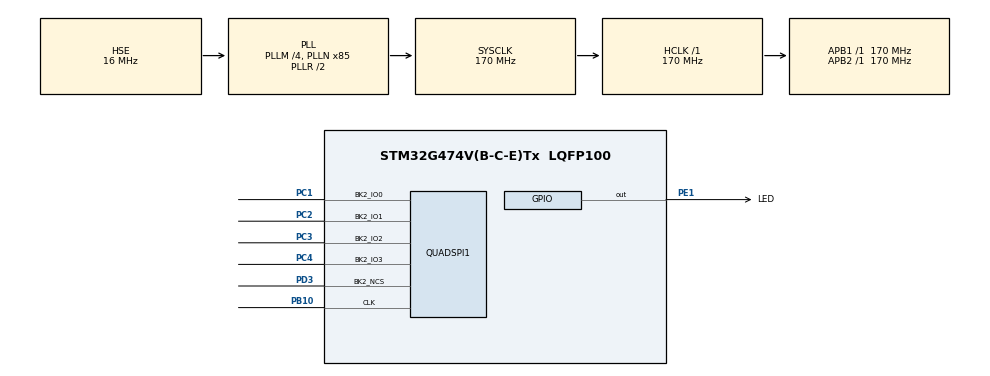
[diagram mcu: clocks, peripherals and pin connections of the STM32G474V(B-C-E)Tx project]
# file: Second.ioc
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Dma.QUADSPI.0.Direction=DMA_PERIPH_TO_MEMORY
Dma.QUADSPI.0.EventEnable=DISABLE
Dma.QUADSPI.0.Instance=DMA2_Channel1
Dma.QUADSPI.0.MemDataAlignment=DMA_MDATAALIGN_BYTE
Dma.QUADSPI.0.MemInc=DMA_MINC_ENABLE
Dma.QUADSPI.0.Mode=DMA_NORMAL
Dma.QUADSPI.0.PeriphDataAlignment=DMA_PDATAALIGN_BYTE
Dma.QUADSPI.0.PeriphInc=DMA_PINC_DISABLE
Dma.QUADSPI.0.Polarity=HAL_DMAMUX_REQ_GEN_RISING
Dma.QUADSPI.0.Priority=DMA_PRIORITY_LOW
Dma.QUADSPI.0.RequestNumber=1
Dma.QUADSPI.0.SignalID=NONE
Dma.QUADSPI.0.SyncEnable=DISABLE
Dma.QUADSPI.0.SyncPolarity=HAL_DMAMUX_SYNC_NO_EVENT
Dma.QUADSPI.0.SyncRequestNumber=1
Dma.QUADSPI.0.SyncSignalID=NONE
Dma.Request0=QUADSPI
Mcu.Family=STM32G4
Mcu.Name=STM32G474V(B-C-E)Tx
Mcu.Package=LQFP100
NVIC.DMA2_Channel1_IRQn=true\:0\:0\:false\:false\:true\:false\:true\:true
NVIC.PriorityGroup=NVIC_PRIORITYGROUP_4
NVIC.QUADSPI_IRQn=true\:0\:0\:false\:false\:true\:true\:true\:true
PA13.Mode=Trace_Asynchronous_SW
PA13.Signal=SYS_JTMS-SWDIO
PA14.Mode=Trace_Asynchronous_SW
PA14.Signal=SYS_JTCK-SWCLK
PB10.Mode=Single Bank 2
PB10.Signal=QUADSPI1_CLK
PB3.Mode=Trace_Asynchronous_SW
PB3.Signal=SYS_JTDO-SWO
PC1.Mode=Single Bank 2
PC1.Signal=QUADSPI1_BK2_IO0
PC2.Mode=Single Bank 2
PC2.Signal=QUADSPI1_BK2_IO1
PC3.Mode=Single Bank 2
PC3.Signal=QUADSPI1_BK2_IO2
PC4.Mode=Single Bank 2
PC4.Signal=QUADSPI1_BK2_IO3
PD3.Mode=Single Bank 2
PD3.Signal=QUADSPI1_BK2_NCS
PE1.GPIO_Label=LED
PE1.Signal=GPIO_Output
PF0-OSC_IN.Mode=HSE-External-Oscillator
PF0-OSC_IN.Signal=RCC_OSC_IN
PF1-OSC_OUT.Mode=HSE-External-Oscillator
PF1-OSC_OUT.Signal=RCC_OSC_OUT
ProjectManager.HeapSize=0x200
ProjectManager.StackSize=0x400
ProjectManager.TargetToolchain=STM32CubeIDE
QUADSPI1.ClockPrescaler=6
QUADSPI1.FifoThreshold=1
QUADSPI1.FlashSize=23
QUADSPI1.SampleShifting=QSPI_SAMPLE_SHIFTING_NONE
RCC.ADC12Freq_Value=170000000
RCC.ADC345Freq_Value=170000000
RCC.AHBFreq_Value=170000000
RCC.APB1Freq_Value=170000000
RCC.APB1TimFreq_Value=170000000
RCC.APB2Freq_Value=170000000
RCC.APB2TimFreq_Value=170000000
RCC.CortexFreq_Value=170000000
RCC.EXTERNAL_CLOCK_VALUE=12288000
RCC.HCLKFreq_Value=170000000
RCC.HSE_VALUE=16000000
RCC.HSI48_VALUE=48000000
RCC.HSI_VALUE=16000000
RCC.LSE_VALUE=32768
RCC.PLLM=RCC_PLLM_DIV4
RCC.PLLN=85
RCC.PLLQ=RCC_PLLQ_DIV4
RCC.PLLSourceVirtual=RCC_PLLSOURCE_HSE
RCC.SYSCLKFreq_VALUE=170000000
RCC.SYSCLKSource=RCC_SYSCLKSOURCE_PLLCLK
RCC.USBFreq_Value=85000000
RCC.VCOOutputFreq_Value=340000000
VP_SYS_VS_DBSignals.Mode=DisableDeadBatterySignals
board=custom

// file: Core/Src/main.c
/* USER CODE BEGIN Header */
/**
  ******************************************************************************
  * @file           : main.c
  * @brief          : Main program body
  ******************************************************************************
  * @attention
  *
  * Copyright (c) 2025 STMicroelectronics.
  * All rights reserved.
  *
  * This software is licensed under terms that can be found in the LICENSE file
  * in the root directory of this software component.
  * If no LICENSE file comes with this software, it is provided AS-IS.
  *
  ******************************************************************************
  */
/* USER CODE END Header */
#include "main.h"

/* USER CODE BEGIN Includes */
#include "psram_aps6404l.h"     // Our driver
#define FAST_SPEED_TEST_SIZE   (50 * 1024)  // 16 KB buffer for speed test
#include <string.h>
#include <stdio.h>

/* USER CODE END Includes */

QSPI_HandleTypeDef hqspi1;
DMA_HandleTypeDef hdma_quadspi;

void SystemClock_Config(void);
static void MX_GPIO_Init(void);
static void MX_DMA_Init(void);
static void MX_QUADSPI1_Init(void);

/* USER CODE BEGIN 0 */
int _write(int file, char *ptr, int len)
{
  /* Implement your write code here, this is used by puts and printf for example */
  int i=0;
  for(i=0 ; i<len ; i++)
    ITM_SendChar((*ptr++));
  return len;
}

// Callback for QSPI DMA reception completion
volatile uint8_t qspi_tx_complete = 0;
volatile uint8_t qspi_rx_complete = 0;

void HAL_QSPI_TxCpltCallback(QSPI_HandleTypeDef *hqspi)
{
    if(hqspi->Instance == QUADSPI)
    {
        qspi_tx_complete = 1;
        printf("DMA TX complete callback triggered\n");
    }
}

void HAL_QSPI_RxCpltCallback(QSPI_HandleTypeDef *hqspi)
{
    if(hqspi->Instance == QUADSPI)
    {
        qspi_rx_complete = 1;
        printf("DMA RX complete callback triggered\n");
    }
}
/* USER CODE END 0 */

int main(void)
{

  /* USER CODE BEGIN 1 */
	// Declare test buffers (make sure these are not allocated on the stack if memory is very limited)
	uint32_t startTime, endTime, elapsedTime;
	float throughput_kBps;
	uint8_t fastTxBuf[FAST_SPEED_TEST_SIZE];
	uint8_t fastRxBuf[FAST_SPEED_TEST_SIZE];
  /* USER CODE END 1 */

  /* MCU Configuration--------------------------------------------------------*/

  /* Reset of all peripherals, Initializes the Flash interface and the Systick. */
  HAL_Init();

  /* Configure the system clock */
  SystemClock_Config();

  /* Initialize all configured peripherals */
  MX_GPIO_Init();
  MX_DMA_Init();
  MX_QUADSPI1_Init();
  /* USER CODE BEGIN 2 */
  HAL_Delay(1);

  // PSRAM initialization sequence
 if (PSRAM_Reset() != HAL_OK)
 {
	 printf("PSRAM_Reset failed\r\n");
	 while(1);
 }
 if (PSRAM_EnterQuadMode() != HAL_OK)
 {
	 printf("PSRAM_EnterQuadMode failed\r\n");
	 while(1);
 }
 if (PSRAM_SetWrapMode() != HAL_OK)
 {
	 printf("PSRAM_SetWrapMode failed\r\n");
	 while(1);
 }
 HAL_Delay(1); // Allow wrap mode to settle

 // Prepare test data in the transmit buffer
 for (uint32_t i = 0; i < FAST_SPEED_TEST_SIZE; i++)
 {
	 fastTxBuf[i] = (uint8_t)(i & 0xFF);
 }

 // --- DMA Fast Write Test ---
 qspi_tx_complete = 0;  // Reset the DMA TX completion flag
 startTime = HAL_GetTick();
 if (PSRAM_QPI_FastWrite_DMA(0x000000, fastTxBuf, FAST_SPEED_TEST_SIZE) != HAL_OK)
 {
	 printf("DMA Fast Write failed\r\n");
	 while(1);
 }
 // Wait until the TX DMA transfer completes
 while (!qspi_tx_complete) {}
 endTime = HAL_GetTick();
 elapsedTime = endTime - startTime;
 if (elapsedTime == 0) elapsedTime = 1;
 throughput_kBps = ((float)FAST_SPEED_TEST_SIZE / 1024.0f) / ((float)elapsedTime / 1000.0f);
 printf("DMA Fast Write throughput: %.2f kB/s, elapsed time: %lu ms\r\n", throughput_kBps, elapsedTime);

 // --- DMA Fast Read Test ---
 qspi_rx_complete = 0;  // Reset the DMA RX completion flag
 startTime = HAL_GetTick();
 if (PSRAM_QPI_FastRead_DMA(0x000000, fastRxBuf, FAST_SPEED_TEST_SIZE) != HAL_OK)
 {
	 printf("DMA Fast Read failed\r\n");
	 while(1);
 }
 // Wait until the RX DMA transfer completes
 while (!qspi_rx_complete) {}
 endTime = HAL_GetTick();
 elapsedTime = endTime - startTime;
 if (elapsedTime == 0) elapsedTime = 1;
 throughput_kBps = ((float)FAST_SPEED_TEST_SIZE / 1024.0f) / ((float)elapsedTime / 1000.0f);
 printf("DMA Fast Read throughput: %.2f kB/s, elapsed time: %lu ms\r\n", throughput_kBps, elapsedTime);

 // --- Verify Data Integrity ---
 if (memcmp(fastTxBuf, fastRxBuf, FAST_SPEED_TEST_SIZE) == 0)
 {
	 printf("DMA Fast Write/Read test: PASS\r\n");
 }
 else
 {
	 printf("DMA Fast Write/Read test: FAIL\r\n");
 }
  /* USER CODE END 2 */

  /* Infinite loop */
  while (1)
  {
  }

}

void SystemClock_Config(void)
{
  RCC_OscInitTypeDef RCC_OscInitStruct = {0};
  RCC_ClkInitTypeDef RCC_ClkInitStruct = {0};

  /** Configure the main internal regulator output voltage
  */
  HAL_PWREx_ControlVoltageScaling(PWR_REGULATOR_VOLTAGE_SCALE1_BOOST);

  /** Initializes the RCC Oscillators according to the specified parameters
  * in the RCC_OscInitTypeDef structure.
  */
  RCC_OscInitStruct.OscillatorType = RCC_OSCILLATORTYPE_HSE;
  RCC_OscInitStruct.HSEState = RCC_HSE_ON;
  RCC_OscInitStruct.PLL.PLLState = RCC_PLL_ON;
  RCC_OscInitStruct.PLL.PLLSource = RCC_PLLSOURCE_HSE;
  RCC_OscInitStruct.PLL.PLLM = RCC_PLLM_DIV4;
  RCC_OscInitStruct.PLL.PLLN = 85;
  RCC_OscInitStruct.PLL.PLLP = RCC_PLLP_DIV2;
  RCC_OscInitStruct.PLL.PLLQ = RCC_PLLQ_DIV4;
  RCC_OscInitStruct.PLL.PLLR = RCC_PLLR_DIV2;
  if (HAL_RCC_OscConfig(&RCC_OscInitStruct) != HAL_OK)
  {
    Error_Handler();
  }

  /** Initializes the CPU, AHB and APB buses clocks
  */
  RCC_ClkInitStruct.ClockType = RCC_CLOCKTYPE_HCLK|RCC_CLOCKTYPE_SYSCLK
                              |RCC_CLOCKTYPE_PCLK1|RCC_CLOCKTYPE_PCLK2;
  RCC_ClkInitStruct.SYSCLKSource = RCC_SYSCLKSOURCE_PLLCLK;
  RCC_ClkInitStruct.AHBCLKDivider = RCC_SYSCLK_DIV1;
  RCC_ClkInitStruct.APB1CLKDivider = RCC_HCLK_DIV1;
  RCC_ClkInitStruct.APB2CLKDivider = RCC_HCLK_DIV1;

  if (HAL_RCC_ClockConfig(&RCC_ClkInitStruct, FLASH_LATENCY_4) != HAL_OK)
  {
    Error_Handler();
  }
}

static void MX_QUADSPI1_Init(void)
{

  /* QUADSPI1 parameter configuration*/
  hqspi1.Instance = QUADSPI;
  hqspi1.Init.ClockPrescaler = 6;
  hqspi1.Init.FifoThreshold = 1;
  hqspi1.Init.SampleShifting = QSPI_SAMPLE_SHIFTING_NONE;
  hqspi1.Init.FlashSize = 23;
  hqspi1.Init.ChipSelectHighTime = QSPI_CS_HIGH_TIME_1_CYCLE;
  hqspi1.Init.ClockMode = QSPI_CLOCK_MODE_0;
  hqspi1.Init.FlashID = QSPI_FLASH_ID_2;
  hqspi1.Init.DualFlash = QSPI_DUALFLASH_DISABLE;
  if (HAL_QSPI_Init(&hqspi1) != HAL_OK)
  {
    Error_Handler();
  }

}

static void MX_DMA_Init(void)
{

  /* DMA controller clock enable */
  __HAL_RCC_DMAMUX1_CLK_ENABLE();
  __HAL_RCC_DMA2_CLK_ENABLE();

  /* DMA interrupt init */
  /* DMA2_Channel1_IRQn interrupt configuration */
  HAL_NVIC_SetPriority(DMA2_Channel1_IRQn, 0, 0);
  HAL_NVIC_EnableIRQ(DMA2_Channel1_IRQn);

}

static void MX_GPIO_Init(void)
{
  GPIO_InitTypeDef GPIO_InitStruct = {0};

  /* GPIO Ports Clock Enable */
  __HAL_RCC_GPIOF_CLK_ENABLE();
  __HAL_RCC_GPIOC_CLK_ENABLE();
  __HAL_RCC_GPIOB_CLK_ENABLE();
  __HAL_RCC_GPIOA_CLK_ENABLE();
  __HAL_RCC_GPIOD_CLK_ENABLE();
  __HAL_RCC_GPIOE_CLK_ENABLE();

  /*Configure GPIO pin Output Level */
  HAL_GPIO_WritePin(LED_GPIO_Port, LED_Pin, GPIO_PIN_RESET);

  /*Configure GPIO pin : LED_Pin */
  GPIO_InitStruct.Pin = LED_Pin;
  GPIO_InitStruct.Mode = GPIO_MODE_OUTPUT_PP;
  GPIO_InitStruct.Pull = GPIO_NOPULL;
  GPIO_InitStruct.Speed = GPIO_SPEED_FREQ_LOW;
  HAL_GPIO_Init(LED_GPIO_Port, &GPIO_InitStruct);

}

void Error_Handler(void)
{
  __disable_irq();
  while (1)
  {
  }
}
